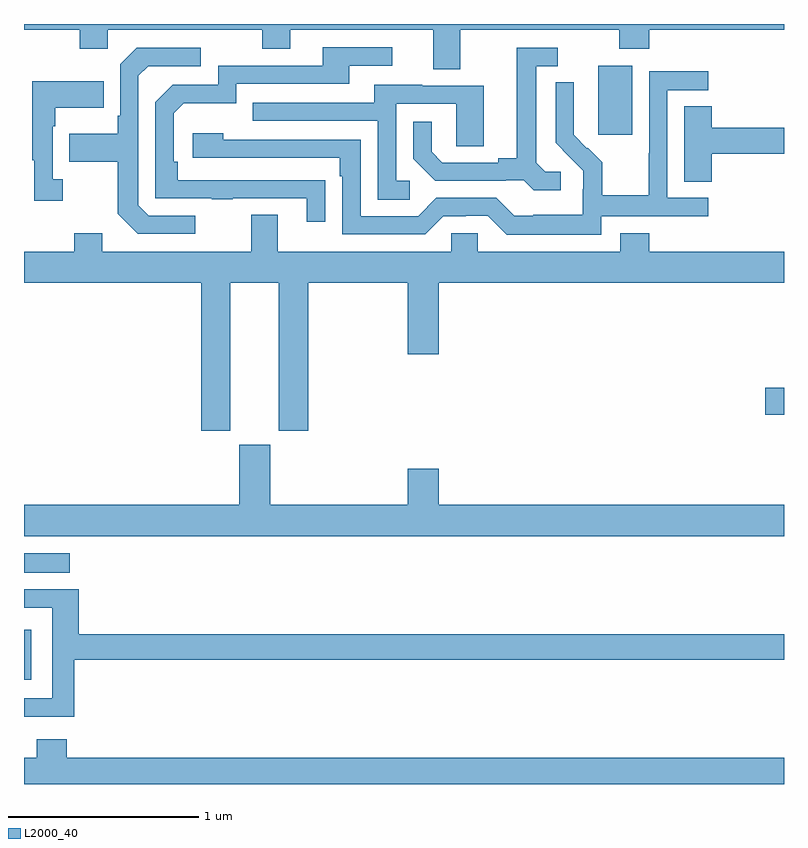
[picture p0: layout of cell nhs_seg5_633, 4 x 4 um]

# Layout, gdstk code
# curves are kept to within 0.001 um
import gdstk
lib = gdstk.Library(unit=1e-6, precision=1e-09)
def R(c, l, rs):  # rectangles x0, y0, x1, y1
    for r in rs: c.add(gdstk.rectangle(r[:2], r[2:], *l))
def P(c, l, *ps):  # polygons
    for p in ps: c.add(gdstk.Polygon(p, *l))
L2000_40 = (2000, 40)

nhs_seg5_633 = lib.new_cell('nhs_seg5_633')
R(nhs_seg5_633, L2000_40, [(151,845.348,151.039,845.611), (151,845.912,151.24,846.013), (154.902,846.742,155,846.884), (154.022,848.217,154.201,848.578)])
P(nhs_seg5_633, L2000_40, [(151,848.768),(151.294,848.768),(151.294,848.669),(151.44,848.669),(151.44,848.768),(152.254,848.768),(152.254,848.669),(152.401,848.669),(152.401,848.768),(153.155,848.768),(153.155,848.56),(153.295,848.56),(153.295,848.768),(154.132,848.768),(154.132,848.669),(154.292,848.669),(154.292,848.768),(155,848.768),(155,848.799),(151,848.799)],
  [(152.585,847.976),(151.808,847.977),(151.808,848.074),(151.788,848.074),(151.788,848.328),(151.841,848.381),(152.118,848.381),(152.118,848.484),(152.713,848.484),(152.713,848.58),(152.938,848.58),(152.938,848.676),(152.573,848.676),(152.573,848.58),(152.022,848.58),(152.022,848.478),(151.782,848.478),(151.692,848.388),(151.692,847.881),(151.987,847.881),(151.987,847.876),(152.099,847.876),(152.099,847.881),(152.489,847.881),(152.489,847.758),(152.585,847.758)],
  [(151.9,847.791),(151.656,847.791),(151.602,847.845),(151.602,848.526),(151.653,848.577),(151.93,848.577),(151.93,848.673),(151.593,848.673),(151.506,848.586),(151.506,848.317),(151.494,848.317),(151.494,848.221),(151.237,848.221),(151.237,848.074),(151.494,848.074),(151.494,847.801),(151.599,847.695),(151.9,847.695)],
  [(153.826,848.022),(153.744,848.022),(153.697,848.069),(153.697,848.577),(153.808,848.577),(153.808,848.673),(153.593,848.673),(153.593,848.093),(153.497,848.093),(153.497,848.07),(153.202,848.07),(153.145,848.127),(153.145,848.284),(153.048,848.284),(153.048,848.09),(153.164,847.974),(153.536,847.974),(153.536,847.977),(153.63,847.977),(153.682,847.925),(153.826,847.925)],
  [(154.038,847.788),(154.6,847.788),(154.6,847.884),(154.386,847.884),(154.386,848.451),(154.6,848.451),(154.6,848.55),(154.29,848.55),(154.29,848.12),(154.288,848.12),(154.288,847.897),(154.043,847.897),(154.043,848.071),(153.966,848.148),(153.963,848.145),(153.893,848.216),(153.894,848.492),(153.798,848.492),(153.798,848.174),(153.944,848.026),(153.944,847.929),(153.942,847.929),(153.942,847.795),(153.679,847.795),(153.679,847.791),(153.579,847.791),(153.486,847.884),(153.171,847.884),(153.075,847.788),(152.772,847.788),(152.772,848.19),(152.048,848.19),(152.048,848.224),(151.887,848.224),(151.887,848.094),(152.663,848.094),(152.663,847.997),(152.676,847.997),(152.676,847.692),(153.111,847.692),(153.207,847.788),(153.326,847.788),(153.326,847.791),(153.441,847.791),(153.541,847.691),(154.038,847.691)],
  [(151.204,847.982),(151.152,847.982),(151.152,848.261),(151.165,848.261),(151.165,848.357),(151.421,848.357),(151.421,848.497),(151.044,848.497),(151.044,848.081),(151.055,848.081),(151.055,847.869),(151.204,847.869)],
  [(153.031,847.974),(152.958,847.974),(152.958,848.379),(153.276,848.379),(153.276,848.155),(153.421,848.155),(153.421,848.475),(153.097,848.475),(153.097,848.479),(152.843,848.479),(152.843,848.385),(152.203,848.385),(152.203,848.289),(152.862,848.289),(152.862,847.873),(153.031,847.873)],
  [(154.619,848.116),(155,848.116),(155,848.252),(154.619,848.252),(154.619,848.366),(154.475,848.366),(154.475,847.969),(154.619,847.969)],
  [(152.086,847.436),(152.342,847.436),(152.342,846.657),(152.495,846.657),(152.495,847.436),(153.02,847.436),(153.02,847.062),(153.184,847.062),(153.184,847.436),(155,847.436),(155,847.6),(154.292,847.6),(154.292,847.699),(154.139,847.699),(154.139,847.6),(153.387,847.6),(153.387,847.698),(153.249,847.698),(153.249,847.6),(152.335,847.6),(152.335,847.795),(152.195,847.795),(152.195,847.6),(151.411,847.6),(151.411,847.699),(151.264,847.699),(151.264,847.6),(151,847.6),(151,847.436),(151.934,847.436),(151.934,846.657),(152.086,846.657)],
  [(155,846.268),(153.184,846.268),(153.184,846.457),(153.02,846.457),(153.02,846.268),(152.296,846.268),(152.296,846.585),(152.132,846.585),(152.132,846.268),(151,846.268),(151,846.104),(155,846.104)],
  [(151.265,845.452),(155,845.452),(155,845.588),(151.289,845.588),(151.289,845.823),(151,845.823),(151,845.727),(151.149,845.727),(151.149,845.25),(151,845.25),(151,845.154),(151.265,845.154)],
  [(155,844.936),(151.226,844.936),(151.226,845.035),(151.066,845.035),(151.066,844.936),(151,844.936),(151,844.799),(155,844.799)])

lib.write_gds('nhs_seg5_633.gds')
